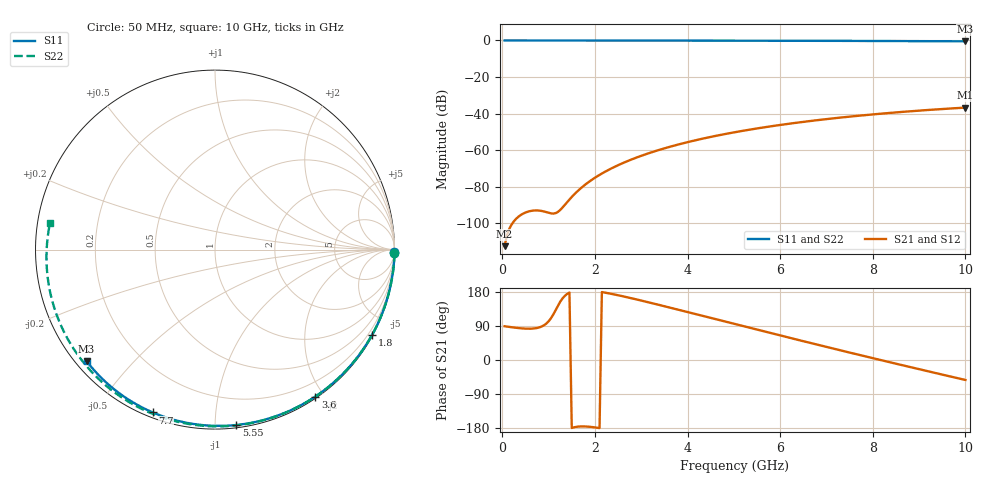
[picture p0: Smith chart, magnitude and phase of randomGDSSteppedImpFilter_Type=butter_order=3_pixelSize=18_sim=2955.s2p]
! freq	dB(S11)	phase(S11)	dB(S12)	phase(S12)
!  dB(S21)	phase(S21)	dB(S22)	phase(S22)
!S-par simulation data
#  GHz  S  DB  R 50
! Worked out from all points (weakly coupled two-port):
!   200 points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, 50 MHz to 10 GHz, reference 50 ohm
!   highest |S21| = -36.72 dB at 10 GHz (marker M1); lowest = -112.5 dB at 50 MHz (marker M2)
!   lowest |S11| = -0.5 dB at 10 GHz (marker M3), VSWR 36.92, Z = 1.54 - j18.6 ohm
!   |S11| at or under -10 dB: nowhere
!   |S22| runs from -0.6 to 0.0 dB; largest |S21 - S12| = 0
!   S11 on the Smith chart (normalised r, x): 50 MHz: open; 1.8 GHz: 0.03, -3.93; 3.6 GHz: 0.02, -1.89; 5.55 GHz: 0.02, -1.13; 7.7 GHz: 0.02, -0.69; 10 GHz: 0.03, -0.37
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0.05  -0.00 -0.8  -112.48 89.1  -112.48 89.1  -0.00 -1.1
0.45  -0.01 -7.2  -94.69 83.1  -94.69 83.1  -0.01 -9.4
0.85  -0.02 -13.6  -93.24 88.3  -93.24 88.3  -0.02 -17.7
1.25  -0.03 -19.9  -92.71 153.7  -92.71 153.7  -0.03 -25.9
1.7  -0.03 -27.0  -80.71 -175.3  -80.71 -175.3  -0.04 -35.1
1.75  -0.04 -27.8  -79.65 -175.3  -79.65 -175.3  -0.05 -36.1
1.8  -0.04 -28.5  -78.65 -175.5  -78.65 -175.5  -0.05 -37.1
2.1  -0.04 -33.2  -73.50 -179.7  -73.50 -179.7  -0.05 -43.1
2.5  -0.05 -39.3  -68.21 170.9  -68.21 170.9  -0.07 -51.0
2.9  -0.06 -45.3  -64.01 159.8  -64.01 159.8  -0.08 -58.8
3.4  -0.07 -52.8  -59.75 145.0  -59.75 145.0  -0.09 -68.4
3.6  -0.08 -55.7  -58.27 138.9  -58.27 138.9  -0.10 -72.1
4.3  -0.09 -65.8  -53.84 117.3  -53.84 117.3  -0.12 -85.1
5.05  -0.12 -76.3  -50.04 94.1  -50.04 94.1  -0.15 -98.7
5.55  -0.14 -83.1  -47.91 78.6  -47.91 78.6  -0.18 -107.6
6.1  -0.16 -90.4  -45.85 61.8  -45.85 61.8  -0.21 -117.2
6.7  -0.19 -98.3  -43.89 43.6  -43.89 43.6  -0.25 -127.7
7.7  -0.25 -110.9  -41.15 13.7  -41.15 13.7  -0.34 -145.4
8.35  -0.30 -119.0  -39.66 -5.4  -39.66 -5.4  -0.41 -157.1
9.2  -0.38 -129.4  -38.00 -30.0  -38.00 -30.0  -0.51 -173.1
9.6  -0.43 -134.2  -37.33 -41.4  -37.33 -41.4  -0.56 179.0
10  -0.47 -139.1  -36.72 -52.7  -36.72 -52.7  -0.62 170.7
